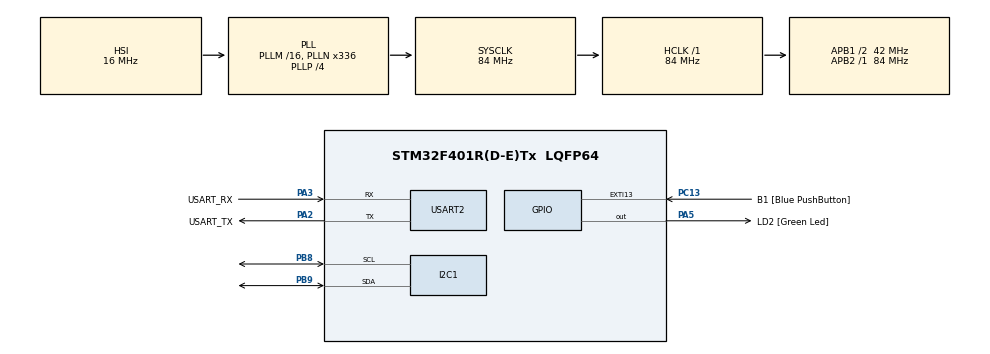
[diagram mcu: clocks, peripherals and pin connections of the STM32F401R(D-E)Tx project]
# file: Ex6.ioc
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Dma.I2C1_RX.0.Direction=DMA_PERIPH_TO_MEMORY
Dma.I2C1_RX.0.FIFOMode=DMA_FIFOMODE_DISABLE
Dma.I2C1_RX.0.Instance=DMA1_Stream0
Dma.I2C1_RX.0.MemDataAlignment=DMA_MDATAALIGN_BYTE
Dma.I2C1_RX.0.MemInc=DMA_MINC_ENABLE
Dma.I2C1_RX.0.Mode=DMA_NORMAL
Dma.I2C1_RX.0.PeriphDataAlignment=DMA_PDATAALIGN_BYTE
Dma.I2C1_RX.0.PeriphInc=DMA_PINC_DISABLE
Dma.I2C1_RX.0.Priority=DMA_PRIORITY_LOW
Dma.Request0=I2C1_RX
Dma.Request1=USART2_TX
Dma.USART2_TX.1.Direction=DMA_MEMORY_TO_PERIPH
Dma.USART2_TX.1.FIFOMode=DMA_FIFOMODE_DISABLE
Dma.USART2_TX.1.Instance=DMA1_Stream6
Dma.USART2_TX.1.MemDataAlignment=DMA_MDATAALIGN_BYTE
Dma.USART2_TX.1.MemInc=DMA_MINC_ENABLE
Dma.USART2_TX.1.Mode=DMA_NORMAL
Dma.USART2_TX.1.PeriphDataAlignment=DMA_PDATAALIGN_BYTE
Dma.USART2_TX.1.PeriphInc=DMA_PINC_DISABLE
Dma.USART2_TX.1.Priority=DMA_PRIORITY_LOW
Mcu.Family=STM32F4
Mcu.Name=STM32F401R(D-E)Tx
Mcu.Package=LQFP64
NVIC.DMA1_Stream0_IRQn=true\:0\:0\:false\:false\:true\:false\:true\:true
NVIC.DMA1_Stream6_IRQn=true\:0\:0\:false\:false\:true\:false\:true\:true
NVIC.I2C1_EV_IRQn=true\:0\:0\:false\:false\:true\:true\:true\:true
NVIC.PriorityGroup=NVIC_PRIORITYGROUP_0
NVIC.TIM1_UP_TIM10_IRQn=true\:0\:0\:false\:false\:true\:true\:true\:true
NVIC.USART2_IRQn=true\:0\:0\:false\:false\:true\:true\:true\:true
PA13.GPIO_Label=TMS
PA13.Mode=Serial_Wire
PA13.Signal=SYS_JTMS-SWDIO
PA14.GPIO_Label=TCK
PA14.Mode=Serial_Wire
PA14.Signal=SYS_JTCK-SWCLK
PA2.GPIO_Label=USART_TX
PA2.GPIO_Mode=GPIO_MODE_AF_PP
PA2.GPIO_PuPd=GPIO_NOPULL
PA2.GPIO_Speed=GPIO_SPEED_FREQ_LOW
PA2.Mode=Asynchronous
PA2.Signal=USART2_TX
PA3.GPIO_Label=USART_RX
PA3.GPIO_Mode=GPIO_MODE_AF_PP
PA3.GPIO_PuPd=GPIO_NOPULL
PA3.GPIO_Speed=GPIO_SPEED_FREQ_LOW
PA3.Mode=Asynchronous
PA3.Signal=USART2_RX
PA5.GPIO_Label=LD2 [Green Led]
PA5.GPIO_Mode=GPIO_MODE_OUTPUT_PP
PA5.GPIO_PuPd=GPIO_NOPULL
PA5.GPIO_Speed=GPIO_SPEED_FREQ_LOW
PA5.Signal=GPIO_Output
PB3.GPIO_Label=SWO
PB3.Signal=SYS_JTDO-SWO
PB8.Mode=I2C
PB8.Signal=I2C1_SCL
PB9.Mode=I2C
PB9.Signal=I2C1_SDA
PC13-ANTI_TAMP.GPIO_Label=B1 [Blue PushButton]
PC13-ANTI_TAMP.GPIO_ModeDefaultEXTI=GPIO_MODE_IT_FALLING
PC13-ANTI_TAMP.GPIO_PuPd=GPIO_NOPULL
PC13-ANTI_TAMP.Signal=GPXTI13
PC14-OSC32_IN.Mode=LSE-External-Oscillator
PC14-OSC32_IN.Signal=RCC_OSC32_IN
PC15-OSC32_OUT.Mode=LSE-External-Oscillator
PC15-OSC32_OUT.Signal=RCC_OSC32_OUT
PH0\ -\ OSC_IN.Mode=HSE-External-Clock-Source
PH0\ -\ OSC_IN.Signal=RCC_OSC_IN
PH1\ -\ OSC_OUT.Mode=HSE-External-Clock-Source
PH1\ -\ OSC_OUT.Signal=RCC_OSC_OUT
ProjectManager.HeapSize=0x200
ProjectManager.StackSize=0x400
ProjectManager.TargetToolchain=STM32CubeIDE
RCC.48MHZClocksFreq_Value=48000000
RCC.AHBFreq_Value=84000000
RCC.APB1CLKDivider=RCC_HCLK_DIV2
RCC.APB1Freq_Value=42000000
RCC.APB1TimFreq_Value=84000000
RCC.APB2Freq_Value=84000000
RCC.APB2TimFreq_Value=84000000
RCC.CortexFreq_Value=84000000
RCC.HCLKFreq_Value=84000000
RCC.HSE_VALUE=8000000
RCC.HSI_VALUE=16000000
RCC.PLLN=336
RCC.PLLP=RCC_PLLP_DIV4
RCC.PLLQ=7
RCC.SYSCLKFreq_VALUE=84000000
RCC.SYSCLKSource=RCC_SYSCLKSOURCE_PLLCLK
RCC.VCOOutputFreq_Value=336000000
TIM1.Period=10-1
TIM1.Prescaler=8400-1
TIM10.Period=10000-1
TIM10.Prescaler=8400-1
USART2.VirtualMode=VM_ASYNC
VP_TIM10_VS_ClockSourceINT.Mode=Enable_Timer
VP_TIM1_VS_ClockSourceINT.Mode=Internal
board=NUCLEO-F401RE

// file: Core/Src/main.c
/* USER CODE BEGIN Header */
/**
  **************************
  * @file           : main.c
  * @brief          : Main program body
  **************************
  * @attention
  *
  * Copyright (c) 2023 STMicroelectronics.
  * All rights reserved.
  *
  * This software is licensed under terms that can be found in the LICENSE file
  * in the root directory of this software component.
  * If no LICENSE file comes with this software, it is provided AS-IS.
  *
  **************************
  */
/* USER CODE END Header */
#include "main.h"

/* USER CODE BEGIN PD */
#define WRITE_ADDRESS_V1 0b01010000
#define READ_ADDRESS_V1 0b01010001

/* USER CODE END PD */

I2C_HandleTypeDef hi2c1;
DMA_HandleTypeDef hdma_i2c1_rx;

TIM_HandleTypeDef htim1;
TIM_HandleTypeDef htim10;

UART_HandleTypeDef huart2;
DMA_HandleTypeDef hdma_usart2_tx;

/* USER CODE BEGIN PV */
volatile uint32_t ACCEL_ADDRESS = 0;
volatile char timer_finished = 0;
int8_t values[5]={0,0,0,0,0};
float acc_g_x;
float acc_g_y;
float acc_g_z;
float avg_acc_g_x=0;
float avg_acc_g_y=0;
float avg_acc_g_z=0;
int i=0;
volatile uint8_t out_add=0xa9;
/* USER CODE END PV */

void SystemClock_Config(void);
static void MX_GPIO_Init(void);
static void MX_DMA_Init(void);
static void MX_USART2_UART_Init(void);
static void MX_I2C1_Init(void);
static void MX_TIM1_Init(void);
static void MX_TIM10_Init(void);

/* USER CODE BEGIN 0 */
void HAL_TIM_PeriodElapsedCallback(TIM_HandleTypeDef *htim) {
	if (htim == &htim1){
		HAL_I2C_Master_Transmit(&hi2c1, WRITE_ADDRESS_V1, &out_add, 1, 200);
		HAL_I2C_Master_Receive_DMA(&hi2c1, READ_ADDRESS_V1, values, 5);
	}
	if(htim == &htim10){
		char stringa[100];
		int length = snprintf(stringa, sizeof(stringa), "X: %.2fg, Y: %.2fg, Z: %.2fg\n\r", avg_acc_g_x, avg_acc_g_y, avg_acc_g_z);
		HAL_UART_Transmit(&huart2, stringa, length, 100);
		avg_acc_g_x=0;
		avg_acc_g_y=0;
		avg_acc_g_z=0;
		i=0;
	}
}
void HAL_I2C_MasterRxCpltCallback(I2C_HandleTypeDef *hi2c){
	acc_g_x=values[0]/64.0;
	acc_g_y=values[2]/64.0;
	acc_g_z=values[4]/64.0;
	i++;
	avg_acc_g_x=(avg_acc_g_x*(i-1)+acc_g_x)/i;
	avg_acc_g_y=(avg_acc_g_y*(i-1)+acc_g_y)/i;
	avg_acc_g_z=(avg_acc_g_z*(i-1)+acc_g_z)/i;
}
/* USER CODE END 0 */

int main(void)
{

  /* MCU Configuration--------------------------------------------------------*/

  /* Reset of all peripherals, Initializes the Flash interface and the Systick. */
  HAL_Init();

  /* Configure the system clock */
  SystemClock_Config();

  /* Initialize all configured peripherals */
  MX_GPIO_Init();
  MX_DMA_Init();
  MX_USART2_UART_Init();
  MX_I2C1_Init();
  MX_TIM1_Init();
  MX_TIM10_Init();
  /* USER CODE BEGIN 2 */
  char stringa[64];
	uint8_t data[5];

	int length = snprintf(stringa, sizeof(stringa), "-----\n\r");
	HAL_UART_Transmit(&huart2, stringa, length, 100);

	// REG_ADDRESS | 4-bit config | LOW_POWER | ZYX
	uint8_t mode = 0b0001;
	uint8_t low_power = 0b0;
	uint8_t axis = 0b111;

	uint8_t CTRL_REG1[] = {0x20, (mode << 4) | (low_power << 3) | (axis)};
	uint8_t CTRL_REG2[] = {0x21, 0x00};
	uint8_t CTRL_REG4[] = {0x23, 0x00};

	HAL_I2C_Master_Transmit(&hi2c1, WRITE_ADDRESS_V1, CTRL_REG1, sizeof(CTRL_REG1), 200);
	HAL_I2C_Master_Transmit(&hi2c1, WRITE_ADDRESS_V1, CTRL_REG2, sizeof(CTRL_REG2), 200);
	HAL_I2C_Master_Transmit(&hi2c1, WRITE_ADDRESS_V1, CTRL_REG4, sizeof(CTRL_REG4), 200);

	HAL_TIM_Base_Start_IT(&htim1);
	HAL_TIM_Base_Start_IT(&htim10);

  /* USER CODE END 2 */

  /* Infinite loop */
  while (1)
  {

  }
}

void SystemClock_Config(void)
{
  RCC_OscInitTypeDef RCC_OscInitStruct = {0};
  RCC_ClkInitTypeDef RCC_ClkInitStruct = {0};

  /** Configure the main internal regulator output voltage
  */
  __HAL_RCC_PWR_CLK_ENABLE();
  __HAL_PWR_VOLTAGESCALING_CONFIG(PWR_REGULATOR_VOLTAGE_SCALE2);

  /** Initializes the RCC Oscillators according to the specified parameters
  * in the RCC_OscInitTypeDef structure.
  */
  RCC_OscInitStruct.OscillatorType = RCC_OSCILLATORTYPE_HSI;
  RCC_OscInitStruct.HSIState = RCC_HSI_ON;
  RCC_OscInitStruct.HSICalibrationValue = RCC_HSICALIBRATION_DEFAULT;
  RCC_OscInitStruct.PLL.PLLState = RCC_PLL_ON;
  RCC_OscInitStruct.PLL.PLLSource = RCC_PLLSOURCE_HSI;
  RCC_OscInitStruct.PLL.PLLM = 16;
  RCC_OscInitStruct.PLL.PLLN = 336;
  RCC_OscInitStruct.PLL.PLLP = RCC_PLLP_DIV4;
  RCC_OscInitStruct.PLL.PLLQ = 7;
  if (HAL_RCC_OscConfig(&RCC_OscInitStruct) != HAL_OK)
  {
    Error_Handler();
  }

  /** Initializes the CPU, AHB and APB buses clocks
  */
  RCC_ClkInitStruct.ClockType = RCC_CLOCKTYPE_HCLK|RCC_CLOCKTYPE_SYSCLK
                              |RCC_CLOCKTYPE_PCLK1|RCC_CLOCKTYPE_PCLK2;
  RCC_ClkInitStruct.SYSCLKSource = RCC_SYSCLKSOURCE_PLLCLK;
  RCC_ClkInitStruct.AHBCLKDivider = RCC_SYSCLK_DIV1;
  RCC_ClkInitStruct.APB1CLKDivider = RCC_HCLK_DIV2;
  RCC_ClkInitStruct.APB2CLKDivider = RCC_HCLK_DIV1;

  if (HAL_RCC_ClockConfig(&RCC_ClkInitStruct, FLASH_LATENCY_2) != HAL_OK)
  {
    Error_Handler();
  }
}

static void MX_I2C1_Init(void)
{

  hi2c1.Instance = I2C1;
  hi2c1.Init.ClockSpeed = 100000;
  hi2c1.Init.DutyCycle = I2C_DUTYCYCLE_2;
  hi2c1.Init.OwnAddress1 = 0;
  hi2c1.Init.AddressingMode = I2C_ADDRESSINGMODE_7BIT;
  hi2c1.Init.DualAddressMode = I2C_DUALADDRESS_DISABLE;
  hi2c1.Init.OwnAddress2 = 0;
  hi2c1.Init.GeneralCallMode = I2C_GENERALCALL_DISABLE;
  hi2c1.Init.NoStretchMode = I2C_NOSTRETCH_DISABLE;
  if (HAL_I2C_Init(&hi2c1) != HAL_OK)
  {
    Error_Handler();
  }

}

static void MX_TIM1_Init(void)
{

  TIM_ClockConfigTypeDef sClockSourceConfig = {0};
  TIM_MasterConfigTypeDef sMasterConfig = {0};

  htim1.Instance = TIM1;
  htim1.Init.Prescaler = 8400-1;
  htim1.Init.CounterMode = TIM_COUNTERMODE_UP;
  htim1.Init.Period = 10-1;
  htim1.Init.ClockDivision = TIM_CLOCKDIVISION_DIV1;
  htim1.Init.RepetitionCounter = 0;
  htim1.Init.AutoReloadPreload = TIM_AUTORELOAD_PRELOAD_DISABLE;
  if (HAL_TIM_Base_Init(&htim1) != HAL_OK)
  {
    Error_Handler();
  }
  sClockSourceConfig.ClockSource = TIM_CLOCKSOURCE_INTERNAL;
  if (HAL_TIM_ConfigClockSource(&htim1, &sClockSourceConfig) != HAL_OK)
  {
    Error_Handler();
  }
  sMasterConfig.MasterOutputTrigger = TIM_TRGO_RESET;
  sMasterConfig.MasterSlaveMode = TIM_MASTERSLAVEMODE_DISABLE;
  if (HAL_TIMEx_MasterConfigSynchronization(&htim1, &sMasterConfig) != HAL_OK)
  {
    Error_Handler();
  }

}

static void MX_TIM10_Init(void)
{

  htim10.Instance = TIM10;
  htim10.Init.Prescaler = 8400-1;
  htim10.Init.CounterMode = TIM_COUNTERMODE_UP;
  htim10.Init.Period = 10000-1;
  htim10.Init.ClockDivision = TIM_CLOCKDIVISION_DIV1;
  htim10.Init.AutoReloadPreload = TIM_AUTORELOAD_PRELOAD_DISABLE;
  if (HAL_TIM_Base_Init(&htim10) != HAL_OK)
  {
    Error_Handler();
  }

}

static void MX_USART2_UART_Init(void)
{

  huart2.Instance = USART2;
  huart2.Init.BaudRate = 115200;
  huart2.Init.WordLength = UART_WORDLENGTH_8B;
  huart2.Init.StopBits = UART_STOPBITS_1;
  huart2.Init.Parity = UART_PARITY_NONE;
  huart2.Init.Mode = UART_MODE_TX_RX;
  huart2.Init.HwFlowCtl = UART_HWCONTROL_NONE;
  huart2.Init.OverSampling = UART_OVERSAMPLING_16;
  if (HAL_UART_Init(&huart2) != HAL_OK)
  {
    Error_Handler();
  }

}

static void MX_DMA_Init(void)
{

  /* DMA controller clock enable */
  __HAL_RCC_DMA1_CLK_ENABLE();

  /* DMA interrupt init */
  /* DMA1_Stream0_IRQn interrupt configuration */
  HAL_NVIC_SetPriority(DMA1_Stream0_IRQn, 0, 0);
  HAL_NVIC_EnableIRQ(DMA1_Stream0_IRQn);
  /* DMA1_Stream6_IRQn interrupt configuration */
  HAL_NVIC_SetPriority(DMA1_Stream6_IRQn, 0, 0);
  HAL_NVIC_EnableIRQ(DMA1_Stream6_IRQn);

}

static void MX_GPIO_Init(void)
{
  GPIO_InitTypeDef GPIO_InitStruct = {0};

  /* GPIO Ports Clock Enable */
  __HAL_RCC_GPIOC_CLK_ENABLE();
  __HAL_RCC_GPIOH_CLK_ENABLE();
  __HAL_RCC_GPIOA_CLK_ENABLE();
  __HAL_RCC_GPIOB_CLK_ENABLE();

  /*Configure GPIO pin Output Level */
  HAL_GPIO_WritePin(LD2_GPIO_Port, LD2_Pin, GPIO_PIN_RESET);

  /*Configure GPIO pin : B1_Pin */
  GPIO_InitStruct.Pin = B1_Pin;
  GPIO_InitStruct.Mode = GPIO_MODE_IT_FALLING;
  GPIO_InitStruct.Pull = GPIO_NOPULL;
  HAL_GPIO_Init(B1_GPIO_Port, &GPIO_InitStruct);

  /*Configure GPIO pin : LD2_Pin */
  GPIO_InitStruct.Pin = LD2_Pin;
  GPIO_InitStruct.Mode = GPIO_MODE_OUTPUT_PP;
  GPIO_InitStruct.Pull = GPIO_NOPULL;
  GPIO_InitStruct.Speed = GPIO_SPEED_FREQ_LOW;
  HAL_GPIO_Init(LD2_GPIO_Port, &GPIO_InitStruct);

}

void Error_Handler(void)
{
  __disable_irq();
  while (1)
  {
  }
}
